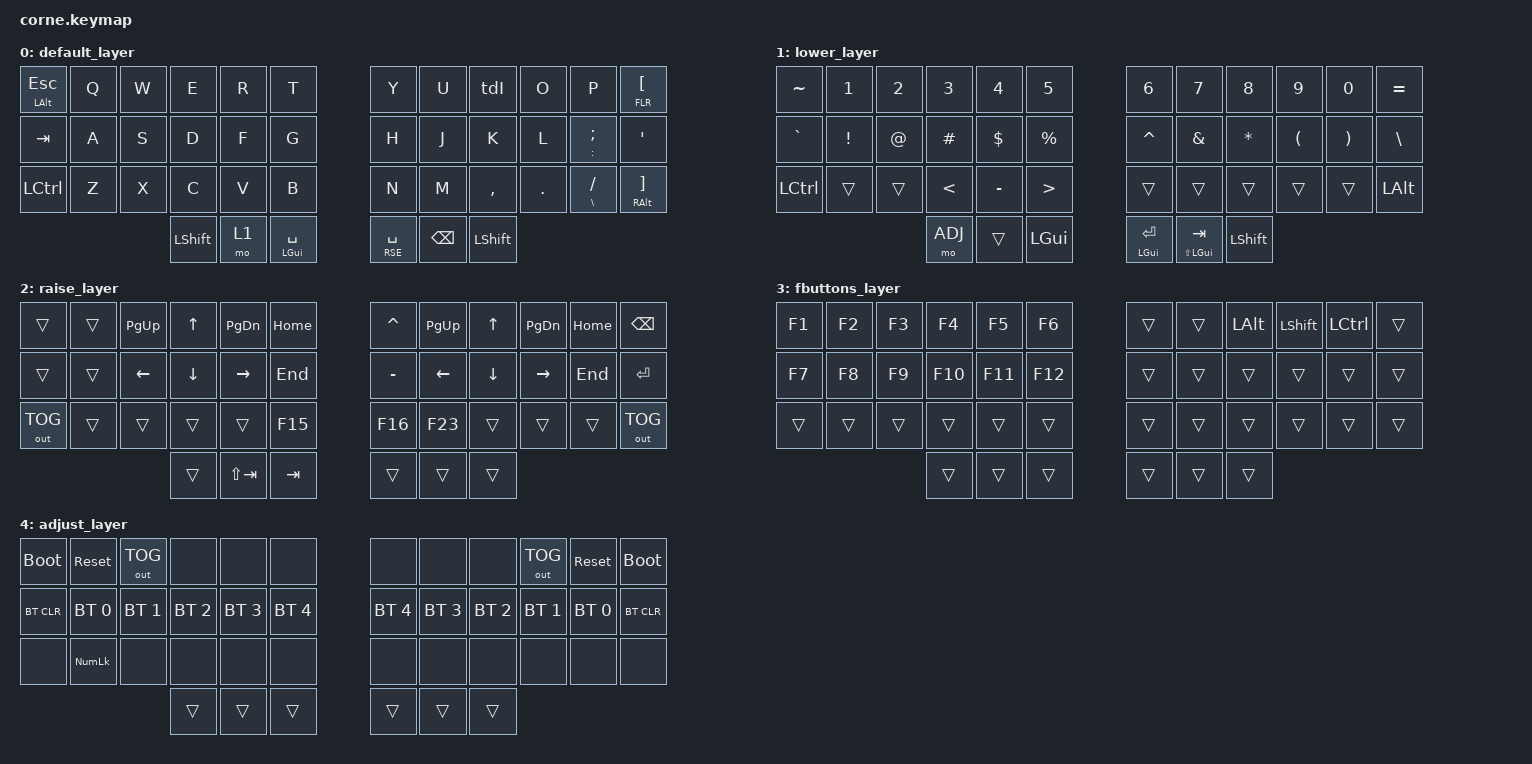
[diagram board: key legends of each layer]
/*
 * Copyright (c) 2020 The ZMK Contributors
 *
 * SPDX-License-Identifier: MIT
 */

#include <behaviors.dtsi>
#include <dt-bindings/zmk/keys.h>
#include <dt-bindings/zmk/bt.h>
#include <dt-bindings/zmk/outputs.h>
#include <behaviors.dtsi>

#define DEF 0
#define LWR 1
#define RSE 2
#define FLR 3
#define ADJ 4

&lt { quick_tap_ms = <219>; };
&mt { quick_tap_ms = <219>; };

/ {
    behaviors {
        tdI: tap_dance_lang1 {
            compatible = "zmk,behavior-tap-dance";
            #binding-cells = <0>;
            tapping-term-ms = <210>;
            bindings = <&kp I>, <&kp RALT>;
        };
        //tdJ: tap_dance_lang2 {
        //    compatible = "zmk,behavior-tap-dance";
        //    #binding-cells = <0>;
        //    tapping-term-ms = <160>;
        //    bindings = <&kp J>, <&kp RALT>;
        //};
        //lh_pht: left_positional_hold_tap {
        //    compatible = "zmk,behavior-hold-tap";
        //    #binding-cells = <2>;
        //    flavor = "tap-unless-interrupted";
        //    tapping-term-ms = <100>;                        // <---[[produces tap if held longer than tapping-term-ms]]
        //    quick-tap-ms = <200>;
        //    bindings = <&kp>, <&kp>;
        //    hold-trigger-key-positions = <0 1 2 3 4 5>;    // <---[[right-hand keys]]
        //};
    };

    combos {
        compatible = "zmk,combos";

        ParaLeft {
            bindings = <&kp LEFT_PARENTHESIS>;
            key-positions = <4 5>;
            timeout-ms = <40>;
        };

        ParaRight {
            bindings = <&kp RIGHT_PARENTHESIS>;
            key-positions = <6 7>;
            timeout-ms = <40>;
        };

        BrakLeft {
            bindings = <&kp LEFT_BRACKET>;
            key-positions = <16 17>;
            timeout-ms = <40>;
        };

        BrakRight {
            bindings = <&kp RIGHT_BRACKET>;
            key-positions = <18 19>;
            timeout-ms = <40>;
        };

        BraceLeft {
            bindings = <&kp LEFT_BRACE>;
            key-positions = <28 29>;
            timeout-ms = <40>;
        };

        BraceRight {
            bindings = <&kp RIGHT_BRACE>;
            key-positions = <30 31>;
            timeout-ms = <40>;
        };

        DoubleQuote {
            bindings = <&kp DOUBLE_QUOTES>;
            key-positions = <15 16>;
            timeout-ms = <40>;
        };

        SingleQuote {
            bindings = <&kp APOSTROPHE>;
            key-positions = <19 20>;
            timeout-ms = <40>;
        };

        //LangRu {
        //    bindings = <&kp LG(F11)>;
        //    key-positions = <0 1>;
        //    timeout-ms = <20>;
        //};

        //LangUs {
        //   bindings = <&kp LG(F12)>;
        //    key-positions = <10 11>;
        //    timeout-ms = <20>;
        //};

        //LangRuL {
        //    bindings = <&kp LG(F11)>;
        //    key-positions = <36 38>;
        //    timeout-ms = <20>;
        //};

        //LangUsL {
        //    bindings = <&kp LG(F12)>;
        //    key-positions = <39 41>;
        //    timeout-ms = <20>;
        //}
        TildaSign2 {
            bindings = <&kp TILDE>;
            key-positions = <0 1>;
            timeout-ms = <40>;
        };
        //EqSign1 {
        //    bindings = <&kp EQUAL>;
        //    key-positions = <14 15>;
        //    timeout-ms = <30>;
        //};
        //EqSign2 {
        //    bindings = <&kp EQUAL>;
        //    key-positions = <20 21>;
        //    timeout-ms = <30>;
        //};
        EqSign3 {
            bindings = <&kp EQUAL>;
            key-positions = <9 10>;
            timeout-ms = <40>;
        };
        ExclamationSign {
            bindings = <&kp EXCL>;
            key-positions = <1 2>;
            timeout-ms = <40>;
        };
        //EscButton {
        //    bindings = <&kp ESC>;
        //    key-positions = <0 1>;
        //    timeout-ms = <30>;
        //};
        EnterCombo1 {
            bindings = <&kp RET>;
            key-positions = <22 23>;
            timeout-ms = <40>;
        };
        EnterCombo2 {
            bindings = <&kp RET>;
            key-positions = <31 32>;
            timeout-ms = <40>;
        };
        ShiftCombo1 {
            bindings = <&kp LSHIFT>;
            key-positions = <34 35>;
            timeout-ms = <40>;
            slow-release;
        };
        ShiftCombo2 {
            bindings = <&kp LSHIFT>;
            key-positions = <24 25>;
            timeout-ms = <40>;
            slow-release;
        };
        BackspaceCombo {
            bindings = <&kp BSPC>;
            key-positions = <10 11>;
            timeout-ms = <40>;
            //slow-release;
        };
        CapsCombo {
            bindings = <&kp CAPSLOCK>;
            key-positions = <12 13>;
            timeout-ms = <40>;
            //slow-release;
        };
        //Dot {
        //    bindings = <&kp DOT>;
        //    key-positions = <32 33>;
        //    timeout-ms = <20>;
        //};

        //Question {
        //    bindings = <&kp QUESTION>;
        //    key-positions = <33 34>;
        //    timeout-ms = <20>;
        //};

        //TildaSign1 {
        //    bindings = <&kp TILDE>;
        //    key-positions = <0 12>;
        //    timeout-ms = <30>;
        //};



        //GraveSign {
        //    bindings = <&kp GRAVE>;
        //    key-positions = <12 24>;
        //    timeout-ms = <30>;
        //};

        MinusSign {
            bindings = <&kp MINUS>;
            key-positions = <3 4>;
            timeout-ms = <40>;
        };

        PlusSign {
            bindings = <&kp PLUS>;
            key-positions = <2 3>;
            timeout-ms = <40>;
        };

        UnderscoreSign {
            bindings = <&kp UNDERSCORE>;
            key-positions = <7 8>;
            timeout-ms = <40>;
        };

        PipeSign {
            bindings = <&kp PIPE>;
            key-positions = <8 9>;
            timeout-ms = <40>;
        };

        //Mainbootloaderleft {
        //    bindings = <&bootloader>;
        //    key-positions = <0 4>;
        //    timeout-ms = <20>;
        //};
        //Mainbootloaderright {
        //    bindings = <&bootloader>;
        //    key-positions = <7 11>;
        //    timeout-ms = <20>;
        //};
    };
};
/ {
        keymap {
                compatible = "zmk,keymap";

                default_layer {
                        bindings = <
            // ╭─────────────┬─────────────┬─────────────┬─────────────┬─────────────┬─────────────╮   ╭─────────────┬─────────────┬─────────────┬─────────────┬─────────────┬─────────────╮
                  &mt LALT ESC  &kp Q         &kp W         &kp E        &kp R         &kp T              &kp Y         &kp U         &tdI         &kp O         &kp P         &lt FLR LEFT_BRACKET
            // ├─────────────┼─────────────┼─────────────┼─────────────┼─────────────┼─────────────┤   ├─────────────┼─────────────┼─────────────┼─────────────┼─────────────┼─────────────┤
                  &kp TAB       &kp A         &kp S         &kp D        &kp F          &kp G              &kp H         &kp J          &kp K         &kp L      &mt COLON SEMI    &kp SQT
            // ├─────────────┼─────────────┼─────────────┼─────────────┼─────────────┼─────────────┤   ├─────────────┼─────────────┼─────────────┼─────────────┼─────────────┼─────────────┤
                  &kp LCTRL     &kp Z         &kp X         &kp C        &kp V         &kp B              &kp N         &kp M         &kp COMMA     &kp DOT   &mt BACKSLASH FSLH  &mt RALT RIGHT_BRACKET
            // ╰─────────────┴─────────────┼─────────────┼─────────────┼─────────────┼─────────────┤   ├─────────────┼─────────────┼─────────────┼─────────────┼─────────────┴─────────────╯
                                                            &kp LSHIFT     &mo 1       &mt LGUI SPACE    &lt RSE SPACE   &kp BSPC     &kp LSHIFT
            //                                           ╰─────────────┴─────────────┴─────────────╯   ╰─────────────┴─────────────┴─────────────╯
                        >;
                };
                lower_layer {
                        bindings = <
            // ╭─────────────┬─────────────┬─────────────┬─────────────┬─────────────┬─────────────╮   ╭─────────────┬─────────────┬─────────────┬─────────────┬─────────────┬─────────────╮
                  &kp TILDE      &kp N1         &kp N2        &kp N3        &kp N4        &kp N5            &kp N6        &kp N7        &kp N8        &kp N9        &kp N0       &kp EQUAL
            // ├─────────────┼─────────────┼─────────────┼─────────────┼─────────────┼─────────────┤   ├─────────────┼─────────────┼─────────────┼─────────────┼─────────────┼─────────────┤
                  &kp GRAVE      &kp EXCL       &kp AT       &kp HASH      &kp DLLR     &kp PRCNT         &kp CARET     &kp AMPS      &kp ASTRK      &kp LPAR      &kp RPAR      &kp BACKSLASH
            // ├─────────────┼─────────────┼─────────────┼─────────────┼─────────────┼─────────────┤   ├─────────────┼─────────────┼─────────────┼─────────────┼─────────────┼─────────────┤
                  &kp LCTRL      &trans         &trans        &kp LT      &kp MINUS       &kp GT             &trans       &trans         &trans        &trans        &trans       &kp LALT
            // ╰─────────────┴─────────────┼─────────────┼─────────────┼─────────────┼─────────────┤   ├─────────────┼─────────────┼─────────────┼─────────────┼─────────────┴─────────────╯
                                                             &mo ADJ        &trans       &kp LGUI       &mt LGUI  RET  &mt LS(LGUI) TAB   &kp LSHIFT
            //                                           ╰─────────────┴─────────────┴─────────────╯   ╰─────────────┴─────────────┴─────────────╯
                        >;
                };
                raise_layer {
                        bindings = <
            // ╭─────────────┬─────────────┬─────────────┬─────────────┬─────────────┬─────────────╮   ╭─────────────┬─────────────┬─────────────┬─────────────┬─────────────┬─────────────╮
                   &trans         &trans     &kp PG_UP      &kp UP        &kp PG_DN     &kp HOME          &kp CARET     &kp PG_UP     &kp UP        &kp PG_DN     &kp HOME     &kp BSPC
            // ├─────────────┼─────────────┼─────────────┼─────────────┼─────────────┼─────────────┤   ├─────────────┼─────────────┼─────────────┼─────────────┼─────────────┼─────────────┤
                   &trans         &trans     &kp LEFT       &kp DOWN      &kp RIGHT     &kp END           &kp MINUS     &kp LEFT      &kp DOWN      &kp RIGHT     &kp END      &kp RET
            // ├─────────────┼─────────────┼─────────────┼─────────────┼─────────────┼─────────────┤   ├─────────────┼─────────────┼─────────────┼─────────────┼─────────────┼─────────────┤
                 &out OUT_TOG     &trans     &trans         &trans          &trans       &kp F15          &kp F16       &kp F23       &trans        &trans        &trans       &out OUT_TOG
            // ╰─────────────┴─────────────┼─────────────┼─────────────┼─────────────┼─────────────┤   ├─────────────┼─────────────┼─────────────┼─────────────┼─────────────┴─────────────╯
                                                              &trans     &kp LS(TAB)     &kp TAB           &trans        &trans        &trans
            //                                           ╰─────────────┴─────────────┴─────────────╯   ╰─────────────┴─────────────┴─────────────╯
                        >; 
                };
                fbuttons_layer {
                        bindings = <
            // ╭─────────────┬─────────────┬─────────────┬─────────────┬─────────────┬─────────────╮   ╭─────────────┬─────────────┬─────────────┬─────────────┬─────────────┬─────────────╮
                   &kp F1        &kp F2        &kp F3         &kp F4        &kp F5        &kp F6            &trans        &trans       &kp LALT     &kp LSHFT     &kp LCTRL      &trans
            // ├─────────────┼─────────────┼─────────────┼─────────────┼─────────────┼─────────────┤   ├─────────────┼─────────────┼─────────────┼─────────────┼─────────────┼─────────────┤
                   &kp F7        &kp F8        &kp F9         &kp F10       &kp F11       &kp F12           &trans        &trans       &trans       &trans        &trans         &trans
            // ├─────────────┼─────────────┼─────────────┼─────────────┼─────────────┼─────────────┤   ├─────────────┼─────────────┼─────────────┼─────────────┼─────────────┼─────────────┤
                   &trans        &trans        &trans         &trans        &trans        &trans            &trans        &trans       &trans       &trans        &trans         &trans
            // ╰─────────────┴─────────────┼─────────────┼─────────────┼─────────────┼─────────────┤   ├─────────────┼─────────────┼─────────────┼─────────────┼─────────────┴─────────────╯
                                                              &trans        &trans        &trans            &trans       &trans        &trans
            //                                           ╰─────────────┴─────────────┴─────────────╯   ╰─────────────┴─────────────┴─────────────╯
                        >; 
                };
                adjust_layer {
                        bindings = <
            // ╭─────────────┬─────────────┬─────────────┬─────────────┬─────────────┬─────────────╮   ╭─────────────┬─────────────┬─────────────┬─────────────┬─────────────┬─────────────╮
                 &bootloader    &sys_reset   &out OUT_TOG     &none         &none         &none             &none         &none         &none      &out OUT_TOG   &sys_reset   &bootloader
            // ├─────────────┼─────────────┼─────────────┼─────────────┼─────────────┼─────────────┤   ├─────────────┼─────────────┼─────────────┼─────────────┼─────────────┼─────────────┤
                 &bt BT_CLR    &bt BT_SEL 0  &bt BT_SEL 1  &bt BT_SEL 2  &bt BT_SEL 3  &bt BT_SEL 4      &bt BT_SEL 4  &bt BT_SEL 3   &bt BT_SEL 2  &bt BT_SEL 1  &bt BT_SEL 0  &bt BT_CLR
            // ├─────────────┼─────────────┼─────────────┼─────────────┼─────────────┼─────────────┤   ├─────────────┼─────────────┼─────────────┼─────────────┼─────────────┼─────────────┤
                   &none       &kp KP_NUM       &none         &none         &none         &none             &none         &none         &none         &none         &none         &none
            // ╰─────────────┴─────────────┼─────────────┼─────────────┼─────────────┼─────────────┤   ├─────────────┼─────────────┼─────────────┼─────────────┼─────────────┴─────────────╯
                                                              &trans        &trans        &trans            &trans        &trans        &trans
            //                                           ╰─────────────┴─────────────┴─────────────╯   ╰─────────────┴─────────────┴─────────────╯

                        >;
                };
        };
};
